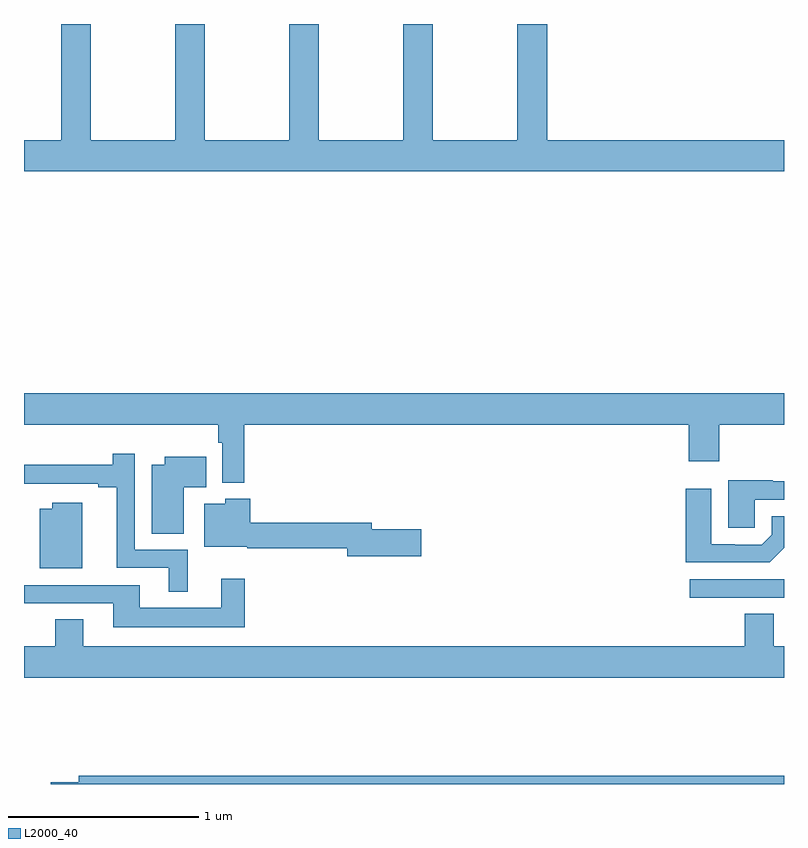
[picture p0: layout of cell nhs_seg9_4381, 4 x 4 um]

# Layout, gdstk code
import gdstk
lib = gdstk.Library(unit=1e-6, precision=1e-09)
def R(c, l, rs):  # rectangles x0, y0, x1, y1
    for r in rs: c.add(gdstk.rectangle(r[:2], r[2:], *l))
def P(c, l, *ps):  # polygons
    for p in ps: c.add(gdstk.Polygon(p, *l))
L2000_40 = (2000, 40)

nhs_seg9_4381 = lib.new_cell('nhs_seg9_4381')
R(nhs_seg9_4381, L2000_40, [(364.503,1223.481,365,1223.577)])
P(nhs_seg9_4381, L2000_40, [(365,1225.888),(363.755,1225.888),(363.755,1226.5),(363.595,1226.5),(363.595,1225.888),(363.15,1225.888),(363.15,1226.5),(362.995,1226.5),(362.995,1225.888),(362.55,1225.888),(362.55,1226.5),(362.395,1226.5),(362.395,1225.888),(361.95,1225.888),(361.95,1226.5),(361.795,1226.5),(361.795,1225.888),(361.35,1225.888),(361.35,1226.5),(361.195,1226.5),(361.195,1225.888),(361,1225.888),(361,1225.724),(365,1225.724)],
  [(362.159,1224.392),(364.499,1224.392),(364.499,1224.198),(364.659,1224.198),(364.659,1224.392),(365,1224.392),(365,1224.556),(361,1224.556),(361,1224.392),(362.023,1224.392),(362.023,1224.296),(362.043,1224.296),(362.043,1224.086),(362.159,1224.086)],
  [(361.861,1223.733),(361.584,1223.733),(361.584,1224.238),(361.468,1224.238),(361.468,1224.179),(361,1224.179),(361,1224.081),(361.391,1224.081),(361.391,1224.061),(361.487,1224.061),(361.487,1223.637),(361.763,1223.637),(361.763,1223.513),(361.861,1223.513)],
  [(361.84,1224.062),(361.958,1224.062),(361.958,1224.223),(361.742,1224.223),(361.742,1224.181),(361.673,1224.181),(361.673,1223.818),(361.84,1223.818)],
  [(364.845,1223.997),(365,1223.997),(365,1224.093),(364.942,1224.093),(364.942,1224.098),(364.706,1224.098),(364.706,1223.848),(364.845,1223.848)],
  [(365,1223.743),(365,1223.908),(364.935,1223.908),(364.935,1223.811),(364.884,1223.76),(364.742,1223.76),(364.742,1223.763),(364.618,1223.763),(364.618,1224.055),(364.484,1224.055),(364.484,1223.667),(364.924,1223.667)],
  [(363.091,1223.84),(362.83,1223.84),(362.83,1223.876),(362.192,1223.876),(362.192,1224.001),(362.058,1224.001),(362.058,1223.974),(361.949,1223.974),(361.949,1223.75),(362.175,1223.75),(362.175,1223.74),(362.702,1223.74),(362.702,1223.698),(363.091,1223.698)],
  [(361.306,1223.98),(361.148,1223.98),(361.148,1223.95),(361.082,1223.95),(361.082,1223.636),(361.306,1223.636)],
  [(362.161,1223.581),(362.039,1223.581),(362.039,1223.428),(361.609,1223.428),(361.609,1223.547),(361,1223.547),(361,1223.451),(361.469,1223.451),(361.469,1223.324),(362.161,1223.324)],
  [(365,1223.224),(364.945,1223.224),(364.945,1223.396),(364.793,1223.396),(364.793,1223.224),(361.312,1223.224),(361.312,1223.366),(361.165,1223.366),(361.165,1223.224),(361,1223.224),(361,1223.06),(365,1223.06)],
  [(365,1222.544),(361.289,1222.544),(361.289,1222.508),(361.14,1222.508),(361.14,1222.5),(365,1222.5)])

lib.write_gds('nhs_seg9_4381.gds')
